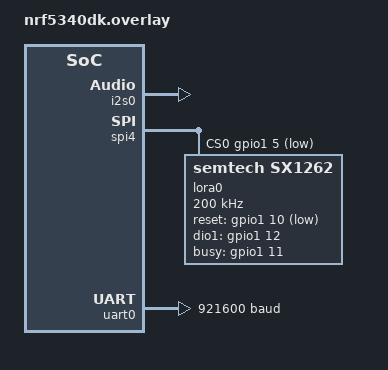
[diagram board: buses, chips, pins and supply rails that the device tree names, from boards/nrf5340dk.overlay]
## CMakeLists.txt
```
# SPDX-License-Identifier: Apache-2.0

cmake_minimum_required(VERSION 3.20.0)

find_package(Zephyr REQUIRED HINTS $ENV{ZEPHYR_BASE})
project(walkie_talkie)

FILE(GLOB app_sources src/*.c)
target_sources(app PRIVATE ${app_sources})

include_directories(src)
```

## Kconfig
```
# Copyright (c) 2021 Nordic Semiconductor ASA
# SPDX-License-Identifier: Apache-2.0


source "Kconfig.zephyr"

mainmenu "Options"

config INIT_GPIO_LOG_LEVEL
	int "Module specific log level"
	default 4

config MAIN_LOG_LEVEL
	int "Module specific log level"
	default 4

config AUDIO_SERVICE_LOG_LEVEL
	int "Module specific log level"
	default 4
```

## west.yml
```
manifest:
  remotes:
    - name: zephyrproject
      url-base: https://github.com/zephyrproject-rtos
  projects:
    - name: zephyr
      repo-path: zephyr
      remote: zephyrproject
      revision: v4.2.0
      clone-depth: 1
      import:
        path-prefix: external
        name-allowlist:
          - cmsis_6
          - picolibc
          - segger
          - hal_espressif
          - hal_nordic
          - hal_xtensa
          - loramac-node
```

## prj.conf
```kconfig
# Logging
CONFIG_LOG=y
CONFIG_LOG_SPEED=y
CONFIG_LOG_BUFFER_SIZE=2048
CONFIG_LOG_MODE_DEFERRED=y
CONFIG_PRINTK=y
CONFIG_INIT_GPIO_LOG_LEVEL=4
CONFIG_MAIN_LOG_LEVEL=4
CONFIG_AUDIO_SERVICE_LOG_LEVEL=4

CONFIG_LORA=y

CONFIG_LORA_SX126X=y
# CONFIG_SPI=y
# CONFIG_SPI_NRFX=y
CONFIG_GPIO=y

# Set stack sizes to avoid overflow errors
CONFIG_MAIN_STACK_SIZE=4096
CONFIG_SYSTEM_WORKQUEUE_STACK_SIZE=4096

# Threads
CONFIG_HEAP_MEM_POOL_SIZE=4096
CONFIG_THREAD_NAME=y
CONFIG_THREAD_RUNTIME_STATS=y
CONFIG_THREAD_RUNTIME_STATS_USE_TIMING_FUNCTIONS=y
CONFIG_DEBUG_THREAD_INFO=y
CONFIG_STDOUT_CONSOLE=y

# Inter-IC Sound (I2S) bus drivers
CONFIG_I2S=y


# CONFIG_PM=y

CONFIG_ASSERT=y
```

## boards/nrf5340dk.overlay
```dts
/ {
     aliases {
             lora0 = &lora0;
     };
};

&pinctrl {

	i2s0_default_alt: i2s0_default_alt {
		group1 {
			psels = 
				// <NRF_PSEL(I2S_MCK, 0, 12)>,
				<NRF_PSEL(I2S_SCK_M, 0, 11)>,
				<NRF_PSEL(I2S_LRCK_M, 0, 15)>,
				<NRF_PSEL(I2S_SDOUT, 0, 13)>,
				// <NRF_PSEL(I2S_SDIN, 0, 14)>;
		};
	};
};

&clock {
	hfclkaudio-frequency = <11289600>;
};

i2s_rx: &i2s0 {
	status = "okay";
	pinctrl-0 = <&i2s0_default_alt>;
	pinctrl-names = "default";
	clock-source = "ACLK";

};

// i2s_tx: &i2s0 {
// 	status = "disabled";
// 	pinctrl-0 = <&i2s0_default_alt>;
// 	pinctrl-names = "default";
// 	clock-source = "ACLK";
// };

&spi4 {
	compatible = "nordic,nrf-spim";
	status = "okay";
	cs-gpios = <&gpio1 5 GPIO_ACTIVE_LOW>;
	pinctrl-0 = <&spi4_default>;
	pinctrl-1 = <&spi4_sleep>;
	pinctrl-names = "default", "sleep";
	// zephyr,pm-device-runtime-auto;

	lora0: sx1262@0 {
		compatible = "semtech,sx1262";
		reg = <0>;
		reset-gpios = <&gpio1 10 GPIO_ACTIVE_LOW>;
		dio1-gpios = <&gpio1 12 (GPIO_PULL_DOWN | GPIO_ACTIVE_HIGH)>;
        busy-gpios = <&gpio1 11 GPIO_ACTIVE_HIGH>;
		// tx-enable-gpios = <&gpio1 4 GPIO_ACTIVE_LOW>;
		// rx-enable-gpios = <&gpio1 6 GPIO_ACTIVE_HIGH>;
		// antenna-enable-gpios = <&gpio1 7 GPIO_ACTIVE_HIGH>;
		spi-max-frequency = <200000>;
		dio2-tx-enable;
		dio3-tcxo-voltage = <7>;
		tcxo-power-startup-delay-ms = <5>;
		status = "okay";
	};
};

&uart0 {
	current-speed = <921600>;
};
```

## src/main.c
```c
/*
 * SPDX-License-Identifier: Apache-2.0
 */
#include <zephyr/kernel.h>
#include <zephyr/device.h>
#include <zephyr/sys/util.h>
#include <zephyr/logging/log.h>
#include <zephyr/sys/printk.h>
#include <zephyr/drivers/lora.h>
#include <zephyr/drivers/gpio.h>
#include <errno.h>
// #include <zephyr/drivers/i2s.h>
// #include <zephyr/audio/codec.h>

#include <inttypes.h>
#include <errno.h>

#include "audio_service.h"
#include "app_common.h"
#include "init_gpio.h"

#define DEFAULT_RADIO_NODE DT_ALIAS(lora0)
BUILD_ASSERT(DT_NODE_HAS_STATUS_OKAY(DEFAULT_RADIO_NODE),
			"No default LoRa radio specified in DT");

#define LOG_LEVEL CONFIG_LOG_DEFAULT_LEVEL
#define MAX_DATA_LEN 128

const struct device *const lora_dev = DEVICE_DT_GET(DEFAULT_RADIO_NODE);

char data[MAX_DATA_LEN] = {"Chevy LS1 5.7L V8 engine"};
volatile bool config_result = false;

K_THREAD_DEFINE(audio_tid, THREAD_STACK_SIZE, audio_sense_thread, NULL, NULL, NULL, 4, 0, 0);

K_WORK_DEFINE(init_gpio, init_gpio_handler);

LOG_MODULE_REGISTER(main, CONFIG_MAIN_LOG_LEVEL);

void lora_receive_cb(const struct device *dev, uint8_t *data, uint16_t size,
		     int16_t rssi, int8_t snr, void *user_data)
{
	// When lora_recv_async is cancelled, may be called with 0 bytes.
	// if (size != 0) {
	// 	printk("RECV %d bytes: ", size);
	// 	for (uint16_t i = 0; i < size; i++)
	// 		printk("0x%02x ",data[i]);
	// 		printk("RSSI = %ddBm, SNR = %ddBm\n", rssi, snr);
	// } 
	printk("\r\nDevice: %s \r\nData: %s\r\nSize: %d\r\nMax bytes: %d\r\nrssi: %d dBm\r\nsnr: %d dB", dev->name, data, strlen(data), size, rssi, snr);
}

int lora_configure(const struct device *dev, bool transmit)
{
	int ret;
	struct lora_modem_config config;

	config.frequency = 865100000;
	config.bandwidth = BW_125_KHZ;
	config.datarate = SF_8;
	config.preamble_len = 8;
	config.coding_rate = CR_4_5;
	config.iq_inverted = false;
	config.public_network = false;
	config.tx_power = 14;
	config.tx = transmit;

	ret = lora_config(dev, &config);
	if (ret < 0) {
		LOG_ERR("LoRa device configuration failed");
		return false;
	}
	return(true);
}

int main(void)
{
	int ret, bytes;
	bool init;

	k_work_submit(&init_gpio);

	if (!device_is_ready(lora_dev)) {
		LOG_ERR("%s Device not ready", lora_dev->name);
		return 0;
	}
	if (lora_configure(lora_dev, RECEIVE)) {
		LOG_DBG("LoRa modem configuring succeeded");
	} else {
		LOG_ERR("Falied configuring LoRa modem");
	}

	init = audio_service_init();
	if (!init) {
		LOG_ERR("Could not initialize I2S device: %d", EIO);
	}
	else LOG_DBG("I2S device initialized");

	

	/* Start LoRa radio listening */
	ret = lora_recv_async(lora_dev, lora_receive_cb, NULL);
	if (ret < 0) {
		LOG_ERR("LoRa recv_async failed with error code: %d", ret);
	}
	LOG_DBG("Radio is in receive mode. Press button 1 to send a LoRa packet");
	
	while (1)
	{
		/* Wait for the pusbutton to be pressed, once pressed data is transmitted */
		if (k_sem_take(&tx_sem, K_FOREVER) != 0) {
			LOG_ERR("Error taking semaphore");
		}

		/* Cancel reception because transmition has to happen next */
		ret = lora_recv_async(lora_dev, NULL, NULL);
		if (ret < 0) {
			LOG_ERR("LoRa recv_async failed to stop reception with error code: %d", ret);
		}

		/* Reconfigure radio for transmition */
		config_result = lora_configure(lora_dev, TRANSMIT);
		if (!config_result) {
			LOG_ERR("Failed to configure radio for transmission");
		}
		
		/* Transmit data */
		ret = lora_send(lora_dev, data, sizeof(data));
		if (ret < 0){
			LOG_ERR("LoRa send failed: %d", ret);
		}
		else {
			// bytes = sizeof(data);
			bytes = strlen(data);
			LOG_DBG("Transmitted bytes = %d", bytes);
			// for (uint16_t i = 0; i < bytes; i++)
			// {
			// 	printk("0x%02x ", data[i]);
			// }
			// printk("\n");
		}

		/* Restart reception */
		lora_configure(lora_dev, RECEIVE);	
		ret = lora_recv_async(lora_dev, lora_receive_cb, NULL);
		if (ret < 0) {
			LOG_ERR("LoRa recv_async failed %d\n", ret);
		} 
	}
	return 0;
}
```

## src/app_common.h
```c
#ifndef APP_COMMON_H
#define APP_COMMON_H

#define THREAD_STACK_SIZE 1024

// #define I2S_RX_NODE  DT_NODELABEL(i2s_rx)
// #define I2S_TX_NODE  DT_NODELABEL(i2s_tx)

extern void audio_sense_thread(void *arg1, void *arg2, void *arg3);

#endif //APP_COMMON_H
```

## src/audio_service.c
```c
#include <zephyr/kernel.h>
#include <zephyr/logging/log.h>
#include <zephyr/drivers/i2s.h>
#include <zephyr/drivers/gpio.h>
#include <zephyr/audio/codec.h>
#include <string.h>

#include "audio_service.h"
#include "init_gpio.h"

K_MEM_SLAB_DEFINE_STATIC(mem_slab, BLOCK_SIZE, BLOCK_COUNT, 4);

static K_SEM_DEFINE(toggle_transfer, 1, 1);



LOG_MODULE_REGISTER(audio_module, CONFIG_AUDIO_SERVICE_LOG_LEVEL);

/* Forward declaration so calls earlier in this file see a matching prototype. */
static bool configure_streams(const struct device *i2s_dev,
                              const struct i2s_config *config);

bool audio_service_init(void)
{
    struct i2s_config config;

    #if DT_NODE_HAS_STATUS(I2S_RX_NODE, okay)
    
        const struct device *const i2s_dev_rx = DEVICE_DT_GET(I2S_RX_NODE);

        if (!device_is_ready(i2s_dev_rx)) {
            LOG_ERR("%s is not ready", i2s_dev_rx->name);
        }
        else LOG_DBG("%s is ready", i2s_dev_rx->name);

        config.word_size = SAMPLE_BIT_WIDTH;
        config.channels = NUMBER_OF_CHANNELS;
        config.format = I2S_FMT_DATA_FORMAT_I2S;
        config.options = I2S_OPT_BIT_CLK_MASTER | I2S_OPT_FRAME_CLK_MASTER;
        config.frame_clk_freq = SAMPLE_FREQUENCY;
        config.mem_slab = &mem_slab;
        config.block_size = BLOCK_SIZE;
        config.timeout = TIMEOUT;
    
        if(!configure_streams(i2s_dev_rx, &config)){
            return 0;
        }

    #endif

    #if DT_NODE_HAS_STATUS(I2S_TX_NODE, okay)

        const struct device *const i2s_dev_tx = DEVICE_DT_GET(I2S_TX_NODE);

        if (!device_is_ready(i2s_dev_tx)) {
            LOG_ERR("%s is not ready", i2s_dev_tx->name);
        }
        else LOG_DBG("%s is ready", i2s_dev_tx->name);

        config.word_size = SAMPLE_BIT_WIDTH;
        config.channels = NUMBER_OF_CHANNELS;
        config.format = I2S_FMT_DATA_FORMAT_I2S;
        config.options = I2S_OPT_BIT_CLK_MASTER | I2S_OPT_FRAME_CLK_MASTER;
        config.frame_clk_freq = SAMPLE_FREQUENCY;
        config.mem_slab = &mem_slab;
        config.block_size = BLOCK_SIZE;
        config.timeout = TIMEOUT;
    
        if(!configure_streams(i2s_dev_tx, &config)){
            return 0;
        }

    #endif

    return true;
}

static bool configure_streams(const struct device *i2s_dev,
			      /*const struct device *i2s_dev_tx,*/
			      const struct i2s_config *config)
{
	int ret;

    #if DT_NODE_HAS_STATUS(I2S_RX_NODE, okay)

        ret = i2s_configure(i2s_dev, I2S_DIR_RX, config);
        if (ret < 0) {
            LOG_ERR("Failed to configure RX stream: %d", ret);
            return false;
        }

    #endif

    #if DT_NODE_HAS_STATUS(I2S_TX_NODE, okay)
        ret = i2s_configure(i2s_dev, I2S_DIR_TX, config);
        if (ret < 0) {
            LOG_ERR("Failed to configure TX stream: %d", ret);
            return false;
        }
    #endif

    return true;
}
                

void audio_sense_thread(void *arg1, void *arg2, void *arg3)
{

    

}
```

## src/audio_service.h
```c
#ifndef AUDIO_SERVICE_H
#define AUDIO_SERVICE_H

#define I2S_RX_NODE  DT_NODELABEL(i2s_rx)
// #define I2S_TX_NODE  DT_NODELABEL(i2s_tx)

#define SAMPLE_FREQUENCY    44100
#define SAMPLE_BIT_WIDTH    16
#define BYTES_PER_SAMPLE    sizeof(int16_t)
#define NUMBER_OF_CHANNELS  2
/* Such block length provides an echo with the delay of 100 ms. */
#define SAMPLES_PER_BLOCK   ((SAMPLE_FREQUENCY / 10) * NUMBER_OF_CHANNELS)
#define INITIAL_BLOCKS      2
#define TIMEOUT             1000

#define BLOCK_SIZE  (BYTES_PER_SAMPLE * SAMPLES_PER_BLOCK)
#define BLOCK_COUNT (INITIAL_BLOCKS + 4)

bool audio_service_init(void);

#endif // AUDIO_SERVICE_H
```

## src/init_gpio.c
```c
#include <zephyr/kernel.h>
#include <zephyr/device.h>
#include <zephyr/drivers/gpio.h>
#include <zephyr/logging/log.h>

#include "init_gpio.h"

#define SW0_NODE	DT_ALIAS(sw0)
#define SW1_NODE    DT_ALIAS(sw1)

K_SEM_DEFINE(tx_sem, 0, 1);
K_SEM_DEFINE(record_sem, 0, 1);

static const struct gpio_dt_spec send_button = GPIO_DT_SPEC_GET_OR(SW0_NODE, gpios, {0});
static struct gpio_dt_spec record_button = GPIO_DT_SPEC_GET(SW1_NODE, gpios);
static struct gpio_dt_spec send_led = GPIO_DT_SPEC_GET_OR(DT_ALIAS(led1), gpios, {0});

static struct gpio_callback send_button_cb_data;
static struct gpio_callback record_button_cb_data;

LOG_MODULE_REGISTER(init_gpio, CONFIG_INIT_GPIO_LOG_LEVEL);

void record_button_pressed(const struct device *dev, struct gpio_callback *cb, uint32_t pins)
{
	int val = gpio_pin_get_dt(&record_button);
	if (val < 0) {
		LOG_ERR("Error reading record button: %d", val);
		return;
	}

	if (val == 1) {
		printk("record button pressed (active)\r\n");
		/* This will trigger the recording service */
		k_sem_give(&record_sem);
	} else {
		printk("record button released (inactive)\r\n");
		/* Handle release if needed (stop recording, debounce, etc.) */
	}
}

void send_button_pressed(const struct device *dev, struct gpio_callback *cb, uint32_t pins)
{
	gpio_pin_toggle_dt(&send_led);
	/* Signal transmit. k_sem_give is ISR-safe. */
	k_sem_give(&tx_sem);
}

void init_gpio_handler(struct k_work *work)
{
    int ret;

	if (!gpio_is_ready_dt(&send_button)) {
		LOG_ERR("Error: send button port is not ready");
		return 0;
	}

	ret = gpio_pin_configure_dt(&send_button, GPIO_INPUT);
	if (ret != 0) {
		LOG_ERR("Error %d: failed to configure %s pin %d", ret, send_button.port->name, send_button.pin);
		return 0;
	}

	ret = gpio_pin_interrupt_configure_dt(&send_button, GPIO_INT_EDGE_TO_ACTIVE);
	if (ret != 0) {
		LOG_ERR("Error %d: failed to configure interrupt on %s pin %d",
			ret, send_button.port->name, send_button.pin);
		return 0;
	}
	
	if (!gpio_is_ready_dt(&record_button)) {
		LOG_ERR("Error: button device %s is not ready", record_button.port);
		return 0;
	}

	ret = gpio_pin_configure_dt(&record_button, GPIO_INPUT);
	if (ret != 0) {
		LOG_ERR("Error %d: failed to configure %s pin %d", ret, record_button.port->name, record_button.pin);
		return 0;
	}

	/* Configure interrupt on both edges and distinguish in the callback by
	 * reading the pin state. Zephyr does not provide per-callback edge
	 * filtering, so use GPIO_INT_EDGE_BOTH and branch on gpio_pin_get_dt().
	 */
	ret = gpio_pin_interrupt_configure_dt(&record_button, GPIO_INT_EDGE_BOTH);
	if (ret != 0) {
		LOG_ERR("Error %d: failed to configure interrupt on %s pin %d",
			ret, record_button.port->name, record_button.pin);
		return 0;
	}

	// if (!device_is_ready(lora_dev)) {
	// 	LOG_ERR("%s Device not ready", lora_dev->name);
	// 	return 0;
	// }

	// if (lora_configure(lora_dev, RECEIVE)) {
	// 	LOG_DBG("LoRa modem configuring succeeded");
	// } else {
	// 	LOG_ERR("Falied configuring LoRa modem");
	// }

	gpio_init_callback(&send_button_cb_data, send_button_pressed, BIT(send_button.pin));
	gpio_add_callback(send_button.port, &send_button_cb_data);
	LOG_DBG("Set up button at %s pin %d", send_button.port->name, send_button.pin);

	gpio_init_callback(&record_button_cb_data, record_button_pressed, BIT(record_button.pin));
	gpio_add_callback(record_button.port, &record_button_cb_data);
	LOG_DBG("Set up button at %s pin %d", record_button.port->name, record_button.pin);

	if (send_led.port && !gpio_is_ready_dt(&send_led)) {
		LOG_ERR("Error %d: LED device %s is not ready; ignoring it", ret, send_led.port->name);
		send_led.port = NULL;
	}
	if (send_led.port) {
		ret = gpio_pin_configure_dt(&send_led, GPIO_OUTPUT);
		if (ret != 0) {
			LOG_ERR("Error %d: failed to configure LED device %s pin %d", ret, send_led.port->name, send_led.pin);
			send_led.port = NULL;
		} else {
			LOG_DBG("Set up LED at %s pin %d", send_led.port->name, send_led.pin);
		}
	}
}
```

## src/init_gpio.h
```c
#ifndef INIT_GPIO_H
#define INIT_GPIO_H

#define TRANSMIT	1
#define RECEIVE 	0

/* Function prototype */
void init_gpio_handler(struct k_work *work);

extern struct k_sem tx_sem;
extern struct k_sem record_sem;
// K_SEM_DEFINE(tx_sem, 0, 1);
// K_SEM_DEFINE(record_sem, 0 , 1);

#endif // INIT_GPIO_H
```
